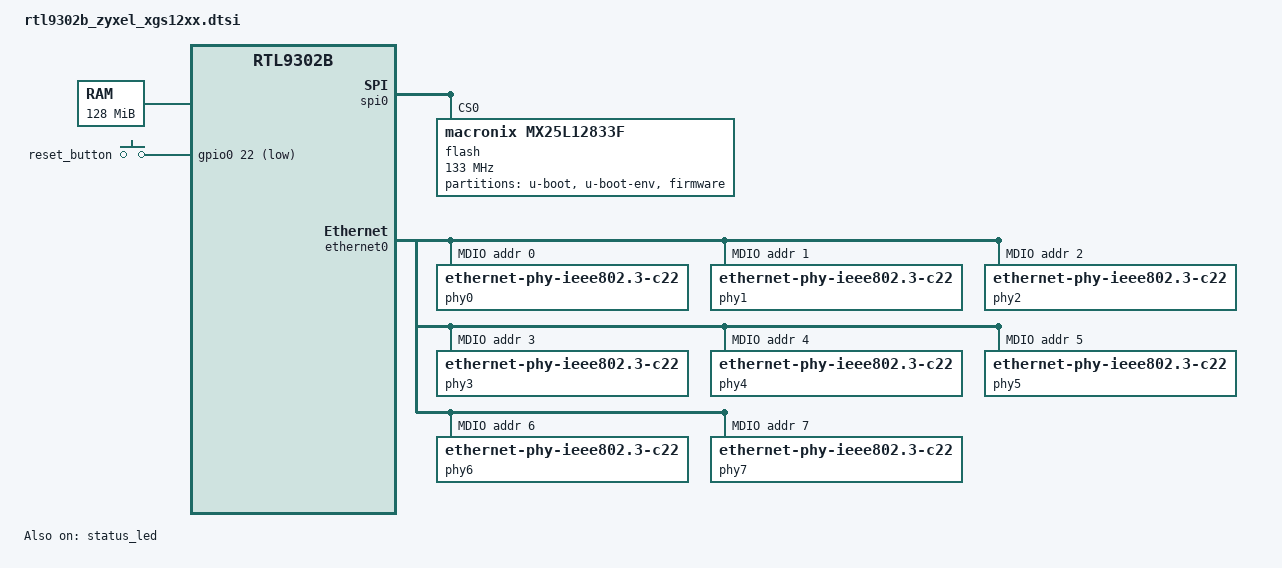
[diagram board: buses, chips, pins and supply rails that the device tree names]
// SPDX-License-Identifier: (GPL-2.0-or-later OR MIT)

#include <dt-bindings/gpio/gpio.h>
#include <dt-bindings/leds/leds-realtek.h>

#include "rtl9302b.dtsi"

/ {
	memory@0 {
		reg = <0x0 0x8000000>; /* 128 MiB */
		device_type = "memory";
	};

	led_sets {
		compatible = "realtek,rtl9302b-leds", "realtek,rtl9302-leds", "realtek,rtl930x-leds";

		/* 1Gbit ports */
		led_set0 = /bits/ 16 <
			/* LED0 */
			(
				RTL93XX_LED_SET_LINK_ACTIVITY |
				RTL93XX_LED_SET_LINK_UP_SOLID |
				RTL93XX_LED_SET_500M_LINK |
				RTL93XX_LED_SET_100M_LINK |
				RTL93XX_LED_SET_10M_LINK
			)
			/* LED1 */
			(
				RTL93XX_LED_SET_LINK_ACTIVITY |
				RTL93XX_LED_SET_LINK_UP_SOLID |
				RTL93XX_LED_SET_2P_1G_LINK |
				RTL93XX_LED_SET_1000M_LINK
			)
			/* LED2 */
			RTL93XX_LED_SET_NONE
			/* LED3 */
			RTL93XX_LED_SET_NONE
		>;
		/* 2G5 ports */
		led_set1 = /bits/ 16 <
			/* LED0 */
			(
				RTL93XX_LED_SET_LINK_ACTIVITY |
				RTL93XX_LED_SET_LINK_UP_SOLID |
				RTL93XX_LED_SET_2G5_LINK
			)
			/* LED1 */
			(
				RTL93XX_LED_SET_LINK_ACTIVITY |
				RTL93XX_LED_SET_LINK_UP_SOLID |
				RTL93XX_LED_SET_2G5_LINK
			)
			/* LED2 */
			(
				RTL93XX_LED_SET_LINK_ACTIVITY |
				RTL93XX_LED_SET_LINK_UP_SOLID |
				RTL93XX_LED_SET_1000M_LINK
			)
			/* LED3 */
			(
				RTL93XX_LED_SET_LINK_ACTIVITY |
				RTL93XX_LED_SET_LINK_UP_SOLID |
				RTL93XX_LED_SET_100M_LINK |
				RTL93XX_LED_SET_10M_LINK
			)
		>;
		/* 10G ports */
		led_set2 = /bits/ 16 <
			/* LED0 */
			(
				RTL93XX_LED_SET_LINK_ACTIVITY |
				RTL93XX_LED_SET_LINK_UP_SOLID |
				RTL93XX_LED_SET_10G_LINK |
				RTL93XX_LED_SET_5G_LINK |
				RTL93XX_LED_SET_2G5_LINK
			)
			/* LED1 */
			(
				RTL93XX_LED_SET_LINK_ACTIVITY |
				RTL93XX_LED_SET_LINK_UP_SOLID |
				RTL93XX_LED_SET_5G_LINK |
				RTL93XX_LED_SET_100M_LINK
			)
			/* LED2 */
			(
				RTL93XX_LED_SET_LINK_ACTIVITY |
				RTL93XX_LED_SET_LINK_UP_SOLID |
				RTL93XX_LED_SET_2G5_LINK |
				RTL93XX_LED_SET_1000M_LINK
			)
			/* LED3 */
			(
				RTL93XX_LED_SET_LINK_ACTIVITY |
				RTL93XX_LED_SET_LINK_UP_SOLID |
				RTL93XX_LED_SET_10G_LINK |
				RTL93XX_LED_SET_5G_LINK |
				RTL93XX_LED_SET_2G5_LINK
			)
		>;
		/* SFP+ ports */
		led_set3 = /bits/ 16 <
			/* LED0 */
			(
				RTL93XX_LED_SET_LINK_ACTIVITY |
				RTL93XX_LED_SET_LINK_UP_SOLID |
				RTL93XX_LED_SET_10G_LINK
			)
			/* LED1 */
			(
				RTL93XX_LED_SET_LINK_ACTIVITY |
				RTL93XX_LED_SET_LINK_UP_SOLID |
				RTL93XX_LED_SET_1000M_LINK
			)
			/* LED2 */
			RTL93XX_LED_SET_NONE
			/* LED3 */
			RTL93XX_LED_SET_NONE
		>;
	};
};

&spi0 {
	status = "okay";

	flash@0 {
		reg = <0>;
		compatible = "macronix,mx25l12833f", "mxicy,mx25l12833f", "jedec,spi-nor";
		spi-max-frequency = <133000000>;

		partitions: partitions {
			compatible = "fixed-partitions";
			#address-cells = <1>;
			#size-cells = <1>;

			partition@0 {
				reg = <0x0 0xe0000>;
				label = "u-boot";
				read-only;
			};

			partition@e0000 {
				reg = <0xe0000 0x10000>;
				label = "u-boot-env";
			};

			firmware_partition: partition@f0000 {
				reg = <0xf0000 0xf10000>;
				label = "firmware";
				compatible = "openwrt,uimage", "denx,uimage";
			};
		};
	};
};

&ethernet0 {
	mdio0: mdio-bus {
		regmap = <&ethernet0>;
		compatible = "realtek,rtl9302b-mdio", "realtek,rtl9302-mdio", "realtek,rtl930x-mdio", "realtek,rtl838x-mdio";
		#address-cells = <1>;
		#size-cells = <0>;

		/* External 8 port 10/100/1000Mbit RTL8218D PHY (XGMII) */
		phy0: ethernet-phy@0 {
			reg = <0>;
			compatible = "ethernet-phy-ieee802.3-c22";
			rtl9300,smi-address = <0 0>;
			sds = <2>;
			/* Disabled because we do not know how to bring up again */
			/* reset-gpios = <&gpio0 21 GPIO_ACTIVE_LOW>; */
		};

		phy1: ethernet-phy@1 {
			reg = <1>;
			compatible = "ethernet-phy-ieee802.3-c22";
			rtl9300,smi-address = <0 1>;
		};

		phy2: ethernet-phy@2 {
			reg = <2>;
			compatible = "ethernet-phy-ieee802.3-c22";
			rtl9300,smi-address = <0 2>;
		};

		phy3: ethernet-phy@3 {
			reg = <3>;
			compatible = "ethernet-phy-ieee802.3-c22";
			rtl9300,smi-address = <0 3>;
		};

		phy4: ethernet-phy@4 {
			reg = <4>;
			compatible = "ethernet-phy-ieee802.3-c22";
			rtl9300,smi-address = <0 4>;
		};

		phy5: ethernet-phy@5 {
			reg = <5>;
			compatible = "ethernet-phy-ieee802.3-c22";
			rtl9300,smi-address = <0 5>;
		};

		phy6: ethernet-phy@6 {
			reg = <6>;
			compatible = "ethernet-phy-ieee802.3-c22";
			rtl9300,smi-address = <0 6>;
		};

		phy7: ethernet-phy@7 {
			reg = <7>;
			compatible = "ethernet-phy-ieee802.3-c22";
			rtl9300,smi-address = <0 7>;
		};
	};
};

&reset_button {
	gpios = <&gpio0 22 GPIO_ACTIVE_LOW>;

	status = "okay";
};

&status_led {
	status = "okay";
};

&spi0 {
	status = "okay";

	flash@0 {
		reg = <0>;
		compatible = "macronix,mx25l12833f", "mxicy,mx25l12833f", "jedec,spi-nor";
		spi-max-frequency = <133000000>;

		partitions: partitions {
			compatible = "fixed-partitions";
			#address-cells = <1>;
			#size-cells = <1>;

			partition@0 {
				reg = <0x0 0xe0000>;
				label = "u-boot";
				read-only;
			};

			partition@e0000 {
				reg = <0xe0000 0x10000>;
				label = "u-boot-env";
			};

			firmware_partition: partition@f0000 {
				reg = <0xf0000 0xf10000>;
				label = "firmware";
				compatible = "openwrt,uimage", "denx,uimage";
			};
		};
	};
};

&switch0 {
	switch0_ports: ports {
		#address-cells = <1>;
		#size-cells = <0>;

		port@0 {
			reg = <0>;
			label = "lan1";
			led-num = <(
				RTL93XX_LED_NUM0 | /* Amber */
				RTL93XX_LED_NUM1   /* Lime */
			)>;
			led-set = <0>;
			phy-handle = <&phy0>;
			phy-mode = "xgmii";
		};

		port@1 {
			reg = <1>;
			label = "lan2";
			led-num = <(
				RTL93XX_LED_NUM0 | /* Amber */
				RTL93XX_LED_NUM1   /* Lime */
			)>;
			led-set = <0>;
			phy-handle = <&phy1>;
			phy-mode = "xgmii";
		};

		port@2 {
			reg = <2>;
			label = "lan3";
			led-num = <(
				RTL93XX_LED_NUM0 | /* Amber */
				RTL93XX_LED_NUM1   /* Lime */
			)>;
			led-set = <0>;
			phy-handle = <&phy2>;
			phy-mode = "xgmii";
		};

		port@3 {
			reg = <3>;
			label = "lan4";
			led-num = <(
				RTL93XX_LED_NUM0 | /* Amber */
				RTL93XX_LED_NUM1   /* Lime */
			)>;
			led-set = <0>;
			phy-handle = <&phy3>;
			phy-mode = "xgmii";
		};

		port@4 {
			reg = <4>;
			label = "lan5";
			led-num = <(
				RTL93XX_LED_NUM0 | /* Amber */
				RTL93XX_LED_NUM1   /* Lime */
			)>;
			led-set = <0>;
			phy-handle = <&phy4>;
			phy-mode = "xgmii";
		};

		port@5 {
			reg = <5>;
			label = "lan6";
			led-num = <(
				RTL93XX_LED_NUM0 | /* Amber */
				RTL93XX_LED_NUM1   /* Lime */
			)>;
			led-set = <0>;
			phy-handle = <&phy5>;
			phy-mode = "xgmii";
		};

		port@6 {
			reg = <6>;
			label = "lan7";
			led-num = <(
				RTL93XX_LED_NUM0 | /* Amber */
				RTL93XX_LED_NUM1   /* Lime */
			)>;
			led-set = <0>;
			phy-handle = <&phy6>;
			phy-mode = "xgmii";
		};

		port@7 {
			reg = <7>;
			label = "lan8";
			led-num = <(
				RTL93XX_LED_NUM0 | /* Amber */
				RTL93XX_LED_NUM1   /* Lime */
			)>;
			led-set = <0>;
			phy-handle = <&phy7>;
			phy-mode = "xgmii";
		};

		/* Internal SoC <-> Switch ethernet connection */
		port@28 {
			reg = <28>;
			ethernet = <&ethernet0>;
			phy-mode = "internal";

			fixed-link {
				speed = <1000>;
				full-duplex;
			};
		};
	};
};
